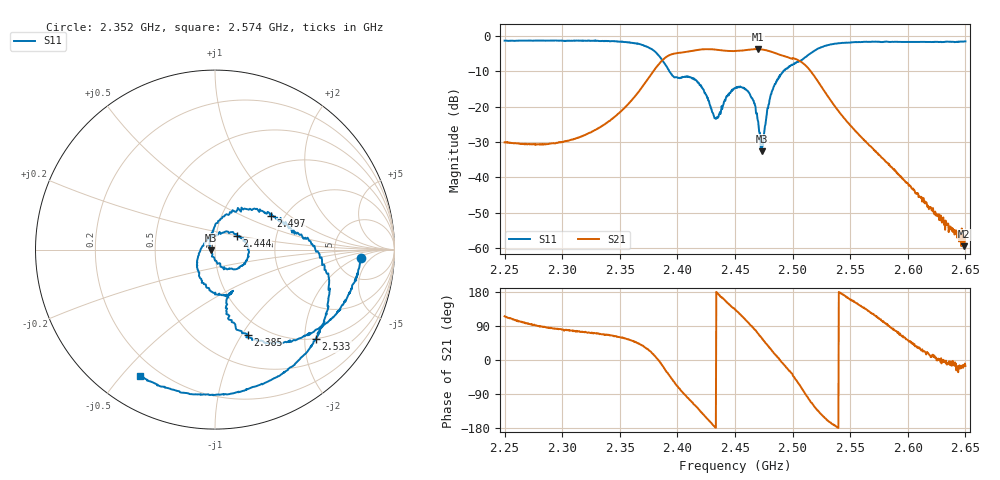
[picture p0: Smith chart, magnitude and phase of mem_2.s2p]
! NanoVNA-App
! Date: 2025-03-07 15:44:28
! Start: 2.25GHz Stop: 2.65GHz Points: 1024
! S-Parameter data: F S11 S21 S12 S22
# Hz S RI R 50
!  Frequency  S11_Real  S11_Imag  S21_Real  S21_Imag  S12_Real  S12_Imag  S22_Real  S22_Imag
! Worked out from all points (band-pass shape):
!   1024 points, 2.25 GHz to 2.65 GHz, reference 50 ohm
!   highest |S21| = -3.81 dB at 2.47 GHz (marker M1); lowest = -59.4 dB at 2.649 GHz (marker M2)
!   |S21| within 3 dB of the highest: 2.387 GHz to 2.504 GHz (116.7 MHz wide, 4.77 % of centre)
!   lowest |S11| = -32.7 dB at 2.473 GHz (marker M3), VSWR 1.05, Z = 47.8 - j0.461 ohm
!   |S11| at or under -10 dB: 2.393 GHz to 2.492 GHz (99.18 MHz wide, 4.06 % of centre)
!   S12 and S22 are empty: the file has one direction only
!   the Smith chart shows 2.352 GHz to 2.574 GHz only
!   S11 on the Smith chart (normalised r, x): 2.352 GHz: 9.16, -2.55; 2.385 GHz: 0.83, -1.06; 2.444 GHz: 1.26, +0.20; 2.497 GHz: 1.70, +0.73; 2.533 GHz: 0.99, -2.27; 2.574 GHz: 0.13, -0.56
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2.25e9  -0.6268 0.5714  -0.0134 0.0282  0 0  0 0
2.282454e9  -0.0493 0.8482  0.00107 0.0296  0 0  0 0
2.316862e9  0.57 0.6266  0.0103 0.0364  0 0  0 0
2.352444e9  0.8148 -0.0465  0.0469 0.0766  0 0  0 0
2.383724e9  0.1927 -0.4902  0.3942 -0.00681  0 0  0 0
2.384506e9  0.1819 -0.4733  0.4071 -0.029  0 0  0 0
2.411095e9  0.0483 -0.252  -0.1686 -0.5762  0 0  0 0
2.433382e9  -0.0531 0.0408  -0.6322 -0.0105  0 0  0 0
2.44433e9  0.1214 0.0777  -0.5188 0.3146  0 0  0 0
2.450196e9  0.1817 0.0246  -0.4164 0.4385  0 0  0 0
2.463099e9  0.0986 -0.109  -0.0335 0.6334  0 0  0 0
2.470137e9  0.000275 -0.0614  0.2267 0.6038  0 0  0 0
2.473265e9  -0.0228 -0.00482  0.3375 0.5406  0 0  0 0
2.482649e9  0.0307 0.1706  0.5403 0.2206  0 0  0 0
2.497116e9  0.3104 0.1874  0.4251 -0.2349  0 0  0 0
2.516667e9  0.5757 -0.0159  -0.1189 -0.2754  0 0  0 0
2.53348e9  0.5634 -0.4984  -0.1159 -0.0278  0 0  0 0
2.573754e9  -0.4158 -0.7059  -0.00812 0.0203  0 0  0 0
2.583529e9  -0.6109 -0.539  -9.48e-06 0.015  0 0  0 0
2.612463e9  -0.8049 0.1246  0.00402 0.00216  0 0  0 0
2.648827e9  -0.3519 0.7433  0.00104 -0.000263  0 0  0 0
2.65e9  -0.3382 0.7533  0.00147 -0.000418  0 0  0 0
